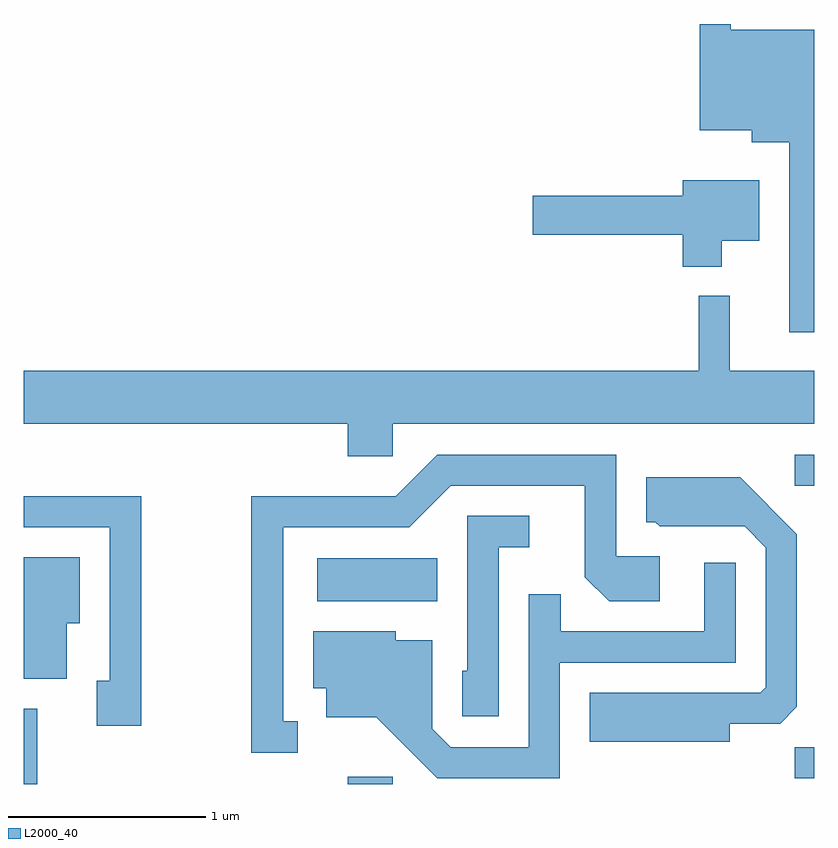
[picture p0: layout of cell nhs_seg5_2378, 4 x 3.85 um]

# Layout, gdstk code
import gdstk
lib = gdstk.Library(unit=1e-6, precision=1e-09)
def R(c, l, rs):  # rectangles x0, y0, x1, y1
    for r in rs: c.add(gdstk.rectangle(r[:2], r[2:], *l))
def P(c, l, *ps):  # polygons
    for p in ps: c.add(gdstk.Polygon(p, *l))
L2000_40 = (2000, 40)

nhs_seg5_2378 = lib.new_cell('nhs_seg5_2378')
R(nhs_seg5_2378, L2000_40, [(255.611,1466.072,255.679,1466.454), (257.251,1466.072,257.479,1466.109), (259.513,1466.101,259.611,1466.259), (257.096,1466.996,257.704,1467.214), (259.513,1467.581,259.611,1467.739)])
P(nhs_seg5_2378, L2000_40, [(259.611,1469.889),(259.189,1469.889),(259.189,1469.919),(259.031,1469.919),(259.031,1469.381),(259.296,1469.381),(259.296,1469.321),(259.486,1469.321),(259.486,1468.358),(259.611,1468.358)],
  [(259.144,1468.821),(259.334,1468.821),(259.334,1469.129),(258.946,1469.129),(258.946,1469.049),(258.186,1469.049),(258.186,1468.851),(258.946,1468.851),(258.946,1468.691),(259.144,1468.691)],
  [(257.479,1467.896),(259.611,1467.896),(259.611,1468.164),(259.184,1468.164),(259.184,1468.543),(259.026,1468.543),(259.026,1468.164),(255.611,1468.164),(255.611,1467.896),(257.251,1467.896),(257.251,1467.731),(257.479,1467.731)],
  [(256.998,1466.389),(256.924,1466.389),(256.924,1467.371),(257.562,1467.371),(257.772,1467.581),(258.451,1467.581),(258.451,1467.119),(258.574,1466.996),(258.829,1466.996),(258.829,1467.224),(258.609,1467.224),(258.609,1467.739),(257.704,1467.739),(257.493,1467.529),(256.761,1467.529),(256.761,1466.231),(256.998,1466.231)],
  [(259.184,1466.376),(259.439,1466.376),(259.524,1466.462),(259.524,1467.337),(259.236,1467.624),(258.761,1467.624),(258.761,1467.396),(258.808,1467.396),(258.829,1467.376),(259.259,1467.376),(259.366,1467.269),(259.366,1466.562),(259.339,1466.534),(258.476,1466.534),(258.476,1466.286),(259.184,1466.286)],
  [(256.204,1467.529),(255.611,1467.529),(255.611,1467.371),(256.046,1467.371),(256.046,1466.594),(255.981,1466.594),(255.981,1466.366),(256.204,1466.366)],
  [(258.014,1467.271),(258.168,1467.271),(258.168,1467.429),(257.856,1467.429),(257.856,1466.644),(257.831,1466.644),(257.831,1466.416),(258.014,1466.416)],
  [(255.829,1466.886),(255.894,1466.886),(255.894,1467.219),(255.611,1467.219),(255.611,1466.606),(255.829,1466.606)],
  [(258.324,1466.686),(259.214,1466.686),(259.214,1467.193),(259.056,1467.193),(259.056,1466.844),(258.329,1466.844),(258.329,1467.033),(258.166,1467.033),(258.166,1466.259),(257.772,1466.259),(257.679,1466.352),(257.679,1466.799),(257.494,1466.799),(257.494,1466.844),(257.076,1466.844),(257.076,1466.556),(257.141,1466.556),(257.141,1466.411),(257.394,1466.411),(257.704,1466.101),(258.324,1466.101)])

lib.write_gds('nhs_seg5_2378.gds')
